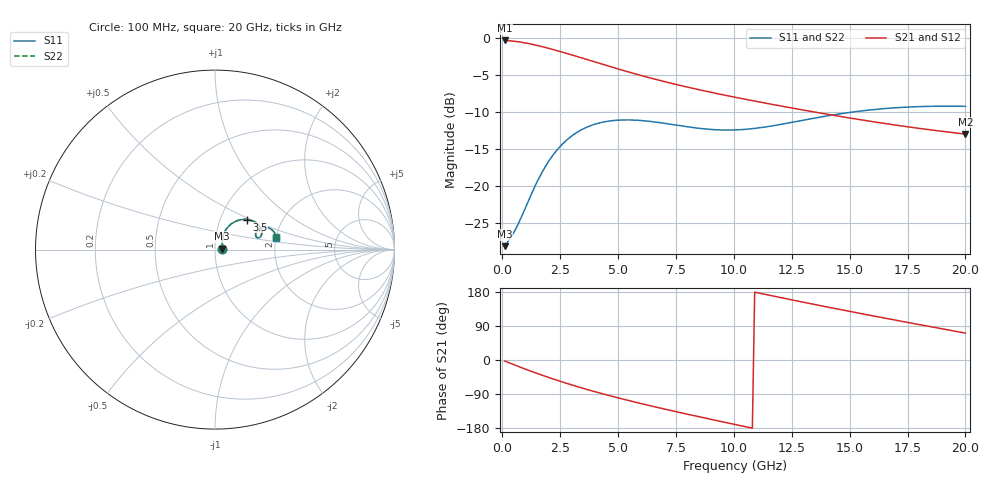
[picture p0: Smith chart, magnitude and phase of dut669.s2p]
! Touchstone file exported from HFSS 2024.1.0
!  File:  C:/UserFiles/LocalFiles/RDL_TSV_Batchsim/temp_RDL_TSV_669_1779813802.aedt
!  Generated:  01:00:12 AM May 27, 2026
!  Design:  RDL_TSV
!  Project:  temp_RDL_TSV_669_1779813802
!  Setup:  Setup1
!  Solution:  Sweep
! Variables:
!  dtsv = 14.41um
!  hbump = 3um
!  htsv = 56.44um
!  ldown = 624.33um
!  lrdl = 649.04um
!  p = 40
!  p1 = 49.75um
!  rhole = 10um
!  subl = 4469.15um
!  t = 450um
!  tdown = 2.06um
!  trdl = 4.11um
!  viad = 10um
!  wdown = 10.19um
!  wrdl = 25.03um
!  xbump = 18um
# GHz S MA R 50.000000
! Terminal data exported
! Port[1] = TM1_1_T1
! Port[2] = TM1_4_T1
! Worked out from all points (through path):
!   200 points, 100 MHz to 20 GHz, reference 50 ohm
!   highest |S21| = -0.35 dB at 100 MHz (marker M1); lowest = -13.0 dB at 20 GHz (marker M2)
!   group delay of S21, straight-line fit = 38.1 ps
!   lowest |S11| = -28.1 dB at 100 MHz (marker M3), VSWR 1.08, Z = 54 + j0.662 ohm
!   |S11| at or under -10 dB: start of sweep to 15.13 GHz
!   |S22| runs from -28.1 to -9.2 dB; largest |S21 - S12| = 6.1e-14
!   S11 on the Smith chart (normalised r, x): 100 MHz: 1.08, +0.01; 3.5 GHz: 1.33, +0.47; 20 GHz: 1.99, +0.31
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0.1  0.03941 8.9  0.9607 -2.5  0.9607 -2.5  0.03941 8.9
! Gamma 0 0 0 0
! Port Impedance 50 0 50 0
0.5  0.04886 34.1  0.9497 -12.3  0.9497 -12.3  0.04883 34.1
0.8  0.06068 47.7  0.9359 -19.5  0.9359 -19.5  0.06066 47.9
1.3  0.09165 59.5  0.9044 -31.0  0.9044 -31.0  0.09176 59.7
1.7  0.1227 61.2  0.8744 -39.7  0.8744 -39.7  0.123 61.4
2.1  0.1549 59.2  0.8423 -48.1  0.8423 -48.1  0.1554 59.4
2.5  0.1854 55.3  0.8092 -56.2  0.8092 -56.2  0.186 55.5
3  0.2182 49.4  0.7675 -65.8  0.7675 -65.8  0.219 49.6
3.5  0.2437 43.3  0.7268 -74.9  0.7268 -74.9  0.2447 43.5
4.3  0.2694 34.3  0.6656 -88.7  0.6656 -88.7  0.2707 34.4
5.1  0.2793 26.7  0.6107 -101.5  0.6107 -101.5  0.2809 26.9
5.9  0.2779 21.0  0.5628 -113.6  0.5628 -113.6  0.2796 21.1
6.8  0.2682 16.8  0.5165 -126.6  0.5165 -126.6  0.27 16.9
7.6  0.2569 15.2  0.4813 -137.7  0.4813 -137.7  0.2588 15.3
8.4  0.2467 15.3  0.4505 -148.5  0.4505 -148.5  0.2485 15.4
10.1  0.2396 19.8  0.3964 -170.8  0.3964 -170.8  0.2411 19.7
11.8  0.2573 24.3  0.3526 167.5  0.3526 167.5  0.2584 24.3
13.4  0.2861 25.2  0.3179 147.6  0.3179 147.6  0.2871 25.2
15  0.3142 23.1  0.2883 128.3  0.2883 128.3  0.3151 23.2
16.7  0.3354 19.2  0.2621 108.4  0.2621 108.4  0.3363 19.3
18.3  0.3451 15.2  0.2419 90.1  0.2419 90.1  0.346 15.3
20  0.3455 11.3  0.2246 71.0  0.2246 71.0  0.3464 11.5
